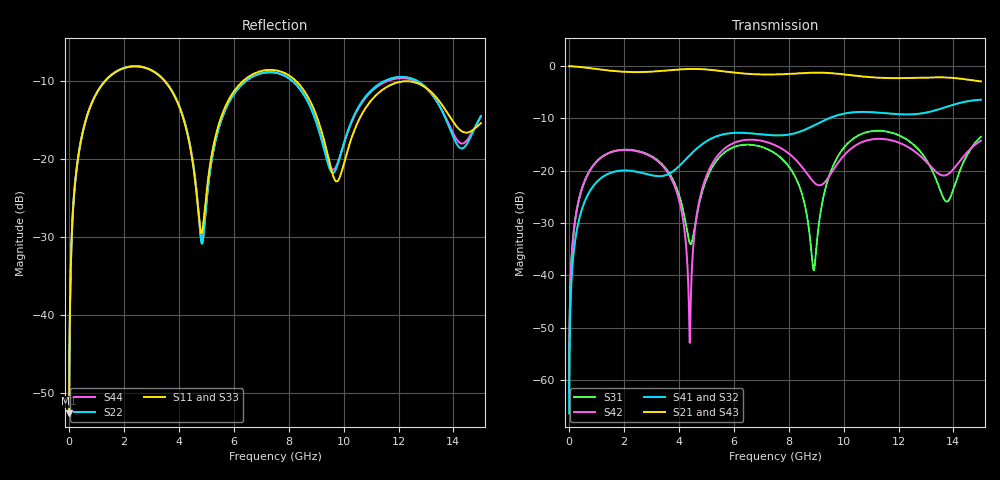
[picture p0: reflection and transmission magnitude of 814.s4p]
! Created with skrf 1.8.0 (http://scikit-rf.org).
# GHz S RI R 50.0
!freq ReS11 ImS11 ReS12 ImS12 ReS13 ImS13
! ReS14 ImS14
! ReS21 ImS21 ReS22 ImS22 ReS23 ImS23
! ReS24 ImS24
! ReS31 ImS31 ReS32 ImS32 ReS33 ImS33
! ReS34 ImS34
! ReS41 ImS41 ReS42 ImS42 ReS43 ImS43
! ReS44 ImS44
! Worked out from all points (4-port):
!   2499 points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, 5 MHz to 15 GHz, reference 50 ohm
!   strongest paths, dB at 5 MHz, 3.476 GHz, 7.19 GHz, 11.1 GHz, 15 GHz:
!     S21: 0.0, -0.9, -1.6, -2.2, -2.9
!     S43: 0.0, -0.9, -1.6, -2.2, -2.9
!     S41: -66.4, -20.9, -13.2, -8.8, -6.4
!     S32: -66.4, -21.0, -13.3, -8.9, -6.4
!     S42: -62.4, -19.5, -14.5, -14.0, -14.3
!     S31: -62.4, -19.3, -15.8, -12.4, -13.5
!   lowest |S11| = -52.7 dB at 5 MHz (marker M1), VSWR 1.00, Z = 50.2 + j0.141 ohm
!   |S11| at or under -10 dB: start of sweep to 1.321 GHz; 3.476 GHz to 6.351 GHz (2.875 GHz wide, 58.5 % of centre); 8.259 GHz to end of sweep
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0.005  0.00185 0.00141  0.9981 -0.00361  9.44e-05 0.000751  -9.16e-05 -0.000469
       0.9981 -0.00361  0.00185 0.00141  -9.16e-05 -0.000469  9.44e-05 0.000751
       9.44e-05 0.000751  -9.16e-05 -0.000469  0.00185 0.00141  0.9981 -0.00361
       -9.16e-05 -0.000469  9.44e-05 0.000751  0.9981 -0.00361  0.00185 0.00141
1.369321  0.2697 0.1778  0.5496 -0.7284  0.1305 0.0617  -0.0915 -0.0062
          0.5496 -0.7284  0.2703 0.1773  -0.0913 -0.00644  0.129 0.0637
          0.1305 0.0617  -0.0913 -0.00644  0.2698 0.1777  0.5496 -0.7284
          -0.0915 -0.0062  0.129 0.0637  0.5496 -0.7284  0.2702 0.1775
4.395581  0.0623 -0.1062  -0.8746 -0.3405  -0.0186 -0.00843  -0.0449 0.1328
          -0.8746 -0.3405  0.059 -0.1111  -0.0483 0.1315  0.00226 -0.000158
          -0.0186 -0.00843  -0.0483 0.1315  0.0614 -0.1064  -0.8746 -0.3405
          -0.0449 0.1328  0.00226 -0.000158  -0.8746 -0.3405  0.0597 -0.1106
5.577324  0.1283 0.1432  -0.812 0.3751  0.0898 0.1112  0.1239 0.1832
          -0.812 0.3751  0.119 0.1395  0.1191 0.1856  0.1201 0.098
          0.0898 0.1112  0.1191 0.1856  0.1285 0.1444  -0.8119 0.3751
          0.1239 0.1832  0.1201 0.098  -0.8119 0.3751  0.1189 0.1392
8.909962  0.1475 -0.1486  0.6715 0.5445  -0.0105 -0.00392  0.1592 -0.218
          0.6715 0.5445  0.1441 -0.1248  0.1701 -0.2095  -0.0598 -0.0498
          -0.0105 -0.00392  0.1701 -0.2095  0.1461 -0.1512  0.6708 0.5449
          0.1592 -0.218  -0.0598 -0.0498  0.6708 0.5449  0.148 -0.1232
9.747812  0.071 -0.00837  0.8415 0.095  0.0357 0.1253  0.0205 -0.3361
          0.8415 0.095  0.0853 0.022  0.0366 -0.3349  -0.031 0.1093
          0.0357 0.1253  0.0366 -0.3349  0.0692 -0.00801  0.8414 0.096
          0.0205 -0.3361  -0.031 0.1093  0.8414 0.096  0.0887 0.0187
15  0.1679 0.0191  -0.7124 0.0299  0.1069 0.1819  0.0721 0.4717
    -0.7124 0.0299  0.1731 0.0735  0.0394 0.4748  0.0307 0.191
    0.1069 0.1819  0.0394 0.4748  0.1683 0.0254  -0.7127 0.0285
    0.0721 0.4717  0.0307 0.191  -0.7127 0.0285  0.1751 0.0631
